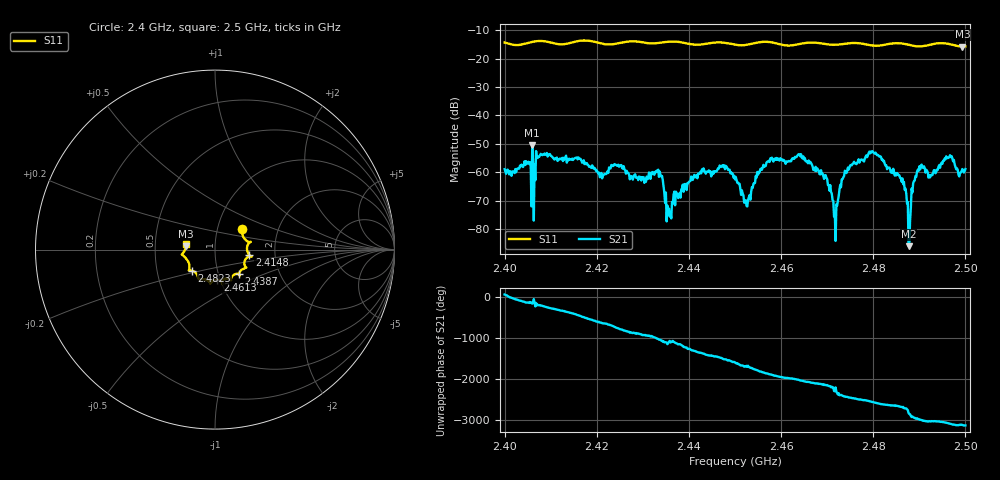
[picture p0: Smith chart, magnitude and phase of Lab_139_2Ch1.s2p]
# Hz S RI R 50
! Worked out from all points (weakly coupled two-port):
!   601 points, 2.4 GHz to 2.5 GHz, reference 50 ohm
!   highest |S21| = -50.45 dB at 2.406 GHz (marker M1); lowest = -86.0 dB at 2.4877 GHz (marker M2)
!   lowest |S11| = -15.8 dB at 2.4993 GHz (marker M3), VSWR 1.39, Z = 36 + j1.32 ohm
!   |S11| at or under -10 dB: start of sweep to end of sweep
!   S12 and S22 are empty: the file has one direction only
!   S11 on the Smith chart (normalised r, x): 2.4 GHz: 1.31, +0.32; 2.4148 GHz: 1.47, -0.09; 2.4387 GHz: 1.25, -0.36; 2.4613 GHz: 0.97, -0.34; 2.4823 GHz: 0.75, -0.18; 2.5 GHz: 0.72, +0.04
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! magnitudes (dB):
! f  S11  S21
! 2.4 GHz  -14.3  -58.9
! 2.406 GHz  -14.1  -50.5
! 2.4073 GHz  -13.8  -54.5
! 2.4148 GHz  -14.2  -55.7
! 2.4167 GHz  -13.7  -55.9
! 2.4333 GHz  -14.5  -59.1
! 2.4357 GHz  -14.0  -72.8
! 2.4387 GHz  -14.4  -64.4
! 2.45 GHz  -15.1  -62.5
! 2.4525 GHz  -15.2  -71.8
! 2.4573 GHz  -14.1  -56.0
! 2.4613 GHz  -15.4  -56.2
! 2.4667 GHz  -14.3  -57.2
! 2.4718 GHz  -15.1  -84.2
! 2.4753 GHz  -14.5  -57.5
! 2.4823 GHz  -15.2  -56.0
! 2.4833 GHz  -14.9  -58.5
! 2.4862 GHz  -14.7  -63.3
! 2.4877 GHz  -15.1  -86.0
! 2.4902 GHz  -15.7  -59.0
! 2.4993 GHz  -15.8  -58.9
! 2.5 GHz  -15.7  -58.8
